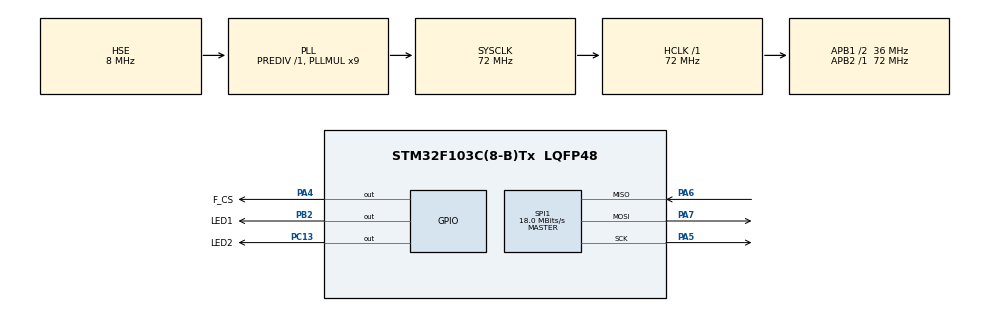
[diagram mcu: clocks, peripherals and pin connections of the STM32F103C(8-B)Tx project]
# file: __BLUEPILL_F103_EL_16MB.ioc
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Mcu.Family=STM32F1
Mcu.Name=STM32F103C(8-B)Tx
Mcu.Package=LQFP48
NVIC.PriorityGroup=NVIC_PRIORITYGROUP_4
PA13.Mode=Serial_Wire
PA13.Signal=SYS_JTMS-SWDIO
PA14.Mode=Serial_Wire
PA14.Signal=SYS_JTCK-SWCLK
PA4.GPIO_Label=F_CS
PA4.Signal=GPIO_Output
PA5.Mode=Full_Duplex_Master
PA5.Signal=SPI1_SCK
PA6.Mode=Full_Duplex_Master
PA6.Signal=SPI1_MISO
PA7.Mode=Full_Duplex_Master
PA7.Signal=SPI1_MOSI
PB2.GPIO_Label=LED1
PB2.Signal=GPIO_Output
PC13-TAMPER-RTC.GPIO_Label=LED2
PC13-TAMPER-RTC.Signal=GPIO_Output
PD0-OSC_IN.Mode=HSE-External-Oscillator
PD0-OSC_IN.Signal=RCC_OSC_IN
PD1-OSC_OUT.Mode=HSE-External-Oscillator
PD1-OSC_OUT.Signal=RCC_OSC_OUT
ProjectManager.HeapSize=0x200
ProjectManager.StackSize=0x400
ProjectManager.TargetToolchain=STM32CubeIDE
RCC.AHBFreq_Value=72000000
RCC.APB1CLKDivider=RCC_HCLK_DIV2
RCC.APB1Freq_Value=36000000
RCC.APB1TimFreq_Value=72000000
RCC.APB2Freq_Value=72000000
RCC.APB2TimFreq_Value=72000000
RCC.HCLKFreq_Value=72000000
RCC.PLLMUL=RCC_PLL_MUL9
RCC.PLLSourceVirtual=RCC_PLLSOURCE_HSE
RCC.SYSCLKFreq_VALUE=72000000
RCC.SYSCLKSource=RCC_SYSCLKSOURCE_PLLCLK
RCC.USBFreq_Value=72000000
SPI1.BaudRatePrescaler=SPI_BAUDRATEPRESCALER_4
SPI1.CalculateBaudRate=18.0 MBits/s
SPI1.Direction=SPI_DIRECTION_2LINES
SPI1.Mode=SPI_MODE_MASTER
SPI1.VirtualType=VM_MASTER
board=custom

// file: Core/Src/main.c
/* USER CODE BEGIN Header */
/**
  ******************************************************************************
  * @file           : main.c
  * @brief          : Main program body
  ******************************************************************************
  * @attention
  *
  * Copyright (c) 2025 STMicroelectronics.
  * All rights reserved.
  *
  * This software is licensed under terms that can be found in the LICENSE file
  * in the root directory of this software component.
  * If no LICENSE file comes with this software, it is provided AS-IS.
  *
  ******************************************************************************
  */
/* USER CODE END Header */
#include "main.h"
#include "spi.h"
#include "gpio.h"

/* USER CODE BEGIN Includes */
#include "W25Qxx.h"
/* USER CODE END Includes */

/* USER CODE BEGIN PV */
uint8_t idx[12];
static uint8_t test = 0;
/* USER CODE END PV */

void SystemClock_Config(void);
/* USER CODE BEGIN PFP */
extern void my_htoa32(uint8_t * buf, uint32_t data);
/* USER CODE END PFP */

/* USER CODE BEGIN 0 */
void pls_tst(void){
	test++;
}
/* USER CODE END 0 */

int main(void)
{

  /* MCU Configuration--------------------------------------------------------*/

  /* Reset of all peripherals, Initializes the Flash interface and the Systick. */
  HAL_Init();

  /* Configure the system clock */
  SystemClock_Config();

  /* Initialize all configured peripherals */
  MX_GPIO_Init();
  MX_SPI1_Init();
  /* USER CODE BEGIN 2 */
  my_htoa32(&idx[0], W25Q_ReadID());
  pls_tst();

extern int Init(void) ;
extern int Write(uint32_t Address, uint32_t Size, uint8_t* buffer);
extern int Read (uint32_t Address, uint32_t Size, uint8_t* buffer);
extern int SectorErase(uint32_t EraseStartAddress, uint32_t EraseEndAddress);
extern int MassErase(void) ;
extern uint32_t CheckSum(uint32_t StartAddress, uint32_t Size, uint32_t InitVal);
extern uint64_t Verify (uint32_t MemoryAddr, uint32_t RAMBufferAddr, uint32_t Size, uint32_t missalignement);

if(test == 0){
  Init();
  Write(0,0,0);
  Read(0,0,0);
  SectorErase(0, 0);
  MassErase();
  CheckSum(0, 0, 0);
  Verify(0, 0, 0, 0);
}

  /* USER CODE END 2 */

  /* Infinite loop */
  while (1)
  {

    /* USER CODE BEGIN 3 */
	  HAL_Delay(200);
	  HAL_GPIO_TogglePin(LED1_GPIO_Port, LED1_Pin);
	  HAL_GPIO_TogglePin(LED2_GPIO_Port, LED2_Pin);
  }
  /* USER CODE END 3 */
}

void SystemClock_Config(void)
{
  RCC_OscInitTypeDef RCC_OscInitStruct = {0};
  RCC_ClkInitTypeDef RCC_ClkInitStruct = {0};

  /** Initializes the RCC Oscillators according to the specified parameters
  * in the RCC_OscInitTypeDef structure.
  */
  RCC_OscInitStruct.OscillatorType = RCC_OSCILLATORTYPE_HSE;
  RCC_OscInitStruct.HSEState = RCC_HSE_ON;
  RCC_OscInitStruct.HSEPredivValue = RCC_HSE_PREDIV_DIV1;
  RCC_OscInitStruct.HSIState = RCC_HSI_ON;
  RCC_OscInitStruct.PLL.PLLState = RCC_PLL_ON;
  RCC_OscInitStruct.PLL.PLLSource = RCC_PLLSOURCE_HSE;
  RCC_OscInitStruct.PLL.PLLMUL = RCC_PLL_MUL9;
  if (HAL_RCC_OscConfig(&RCC_OscInitStruct) != HAL_OK)
  {
    Error_Handler();
  }

  /** Initializes the CPU, AHB and APB buses clocks
  */
  RCC_ClkInitStruct.ClockType = RCC_CLOCKTYPE_HCLK|RCC_CLOCKTYPE_SYSCLK
                              |RCC_CLOCKTYPE_PCLK1|RCC_CLOCKTYPE_PCLK2;
  RCC_ClkInitStruct.SYSCLKSource = RCC_SYSCLKSOURCE_PLLCLK;
  RCC_ClkInitStruct.AHBCLKDivider = RCC_SYSCLK_DIV1;
  RCC_ClkInitStruct.APB1CLKDivider = RCC_HCLK_DIV2;
  RCC_ClkInitStruct.APB2CLKDivider = RCC_HCLK_DIV1;

  if (HAL_RCC_ClockConfig(&RCC_ClkInitStruct, FLASH_LATENCY_2) != HAL_OK)
  {
    Error_Handler();
  }
}

void Error_Handler(void)
{
  __disable_irq();
  while (1)
  {
  }
}
